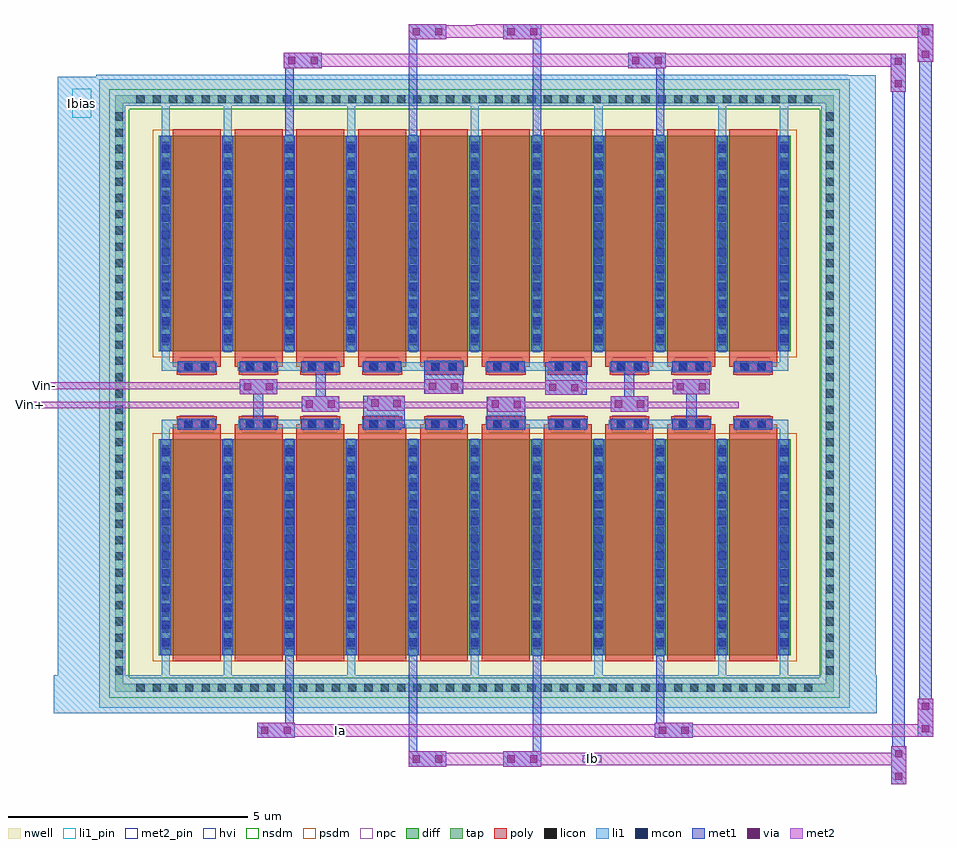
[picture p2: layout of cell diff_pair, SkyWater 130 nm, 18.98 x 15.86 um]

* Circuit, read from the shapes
.subckt diff_pair Ia Ib Ibias Vin+ Vin-
XM1 Ibias Ibias Ibias Ibias sky130_fd_pr__pfet_g5v0d10v5 w=4.5 l=1 m=4
XM2 Ia Vin- Ibias Ibias sky130_fd_pr__pfet_g5v0d10v5 w=4.5 l=1 m=8
XM3 Ib Vin+ Ibias Ibias sky130_fd_pr__pfet_g5v0d10v5 w=4.5 l=1 m=8
.ends

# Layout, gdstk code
from math import pi, radians
import gdstk
lib = gdstk.Library(unit=1e-6, precision=1e-09)
def R(c, l, rs):  # rectangles x0, y0, x1, y1
    for r in rs: c.add(gdstk.rectangle(r[:2], r[2:], *l))
def A(c, l, x, y, w, h, nx, ny, dx, dy):  # array of equal rectangles
    R(c, l, [(x+i*dx, y+j*dy, x+i*dx+w, y+j*dy+h) for i in range(nx) for j in range(ny)])
nwell = (64, 20)
diff = (65, 20)
tap = (65, 44)
poly = (66, 20)
licon = (66, 44)
li1_pin = (67, 16)
li1 = (67, 20)
mcon = (67, 44)
met1 = (68, 20)
via = (68, 44)
met2_pin = (69, 16)
met2 = (69, 20)
hvi = (75, 20)
nsdm = (93, 44)
psdm = (94, 20)
npc = (95, 20)

sky130_fd_pr__pfet_g5v0d = lib.new_cell('sky130_fd_pr__pfet_g5v0d10v5_AEQKCY')
R(sky130_fd_pr__pfet_g5v0d, nwell, [(-0.97,-2.57,0.97,2.74)])
R(sky130_fd_pr__pfet_g5v0d, diff, [(-0.79,-2.07,0.79,2.43)])
R(sky130_fd_pr__pfet_g5v0d, poly, [(-0.415,-2.555,0.415,-2.39), (-0.5,-2.39,0.5,2.56)])
A(sky130_fd_pr__pfet_g5v0d, licon, -0.73, -1.945, 0.17, 0.17, 1, 13, 0, 0.34)
A(sky130_fd_pr__pfet_g5v0d, licon, 0.56, -1.945, 0.17, 0.17, 1, 13, 0, 0.34)
R(sky130_fd_pr__pfet_g5v0d, licon, [(-0.255,-2.475,-0.085,-2.305), (0.085,-2.475,0.255,-2.305)])
R(sky130_fd_pr__pfet_g5v0d, li1, [(-0.73,-2.48,-0.3,-2.475), (-0.73,-2.475,0.415,-2.305), (-0.73,-2.305,-0.3,-2.3), (-0.73,-2.3,-0.56,3.19), (0.56,-2.09,0.73,3.2)])
A(sky130_fd_pr__pfet_g5v0d, mcon, -0.73, -1.885, 0.17, 0.17, 1, 12, 0, 0.36)
A(sky130_fd_pr__pfet_g5v0d, mcon, 0.56, -1.885, 0.17, 0.17, 1, 12, 0, 0.36)
R(sky130_fd_pr__pfet_g5v0d, mcon, [(-0.265,-2.475,-0.095,-2.305), (0.095,-2.475,0.265,-2.305)])
R(sky130_fd_pr__pfet_g5v0d, met1, [(-0.395,-2.505,0.395,-2.275), (-0.76,-2.07,-0.53,2.43), (0.53,-2.07,0.76,2.43)])
R(sky130_fd_pr__pfet_g5v0d, hvi, [(-0.97,-2.57,0.97,-2.255), (-0.975,-2.255,0.975,2.615), (-0.97,2.615,0.97,2.74)])
R(sky130_fd_pr__pfet_g5v0d, psdm, [(-0.915,-2.195,0.915,2.555)])
R(sky130_fd_pr__pfet_g5v0d, npc, [(-0.355,-2.575,0.355,-2.205)])

c_sky130_fd_pr__pfet_g5v0d = lib.new_cell('sky130_fd_pr__pfet_g5v0d10v5_PDQKC8')
R(c_sky130_fd_pr__pfet_g5v0d, nwell, [(-1.045,-2.96,-0.265,-2.65), (-2.905,-2.57,2.905,2.74)])
R(c_sky130_fd_pr__pfet_g5v0d, diff, [(-2.725,-2.07,2.725,2.43)])
A(c_sky130_fd_pr__pfet_g5v0d, poly, -2.35, -2.555, 0.83, 0.165, 4, 1, 1.29, 0)
A(c_sky130_fd_pr__pfet_g5v0d, poly, -2.435, -2.39, 1, 4.95, 4, 1, 1.29, 0)
A(c_sky130_fd_pr__pfet_g5v0d, licon, -2.665, -1.945, 0.17, 0.17, 5, 13, 1.29, 0.34)
R(c_sky130_fd_pr__pfet_g5v0d, licon, [(-2.19,-2.475,-2.02,-2.305), (-1.85,-2.475,-1.68,-2.305), (-0.9,-2.475,-0.73,-2.305), (-0.56,-2.475,-0.39,-2.305), (0.39,-2.475,0.56,-2.305), (0.73,-2.475,0.9,-2.305), (1.68,-2.475,1.85,-2.305), (2.02,-2.475,2.19,-2.305)])
R(c_sky130_fd_pr__pfet_g5v0d, li1, [(-2.355,-2.48,-0.225,-2.3), (0.215,-2.48,2.355,-2.3), (-2.665,-2.09,-2.495,3.11), (-1.375,-2.09,-1.205,2.45), (-0.085,-2.09,0.085,3.33), (1.205,-2.09,1.375,2.45), (2.495,-2.09,2.665,3.14)])
A(c_sky130_fd_pr__pfet_g5v0d, mcon, -2.665, -1.885, 0.17, 0.17, 5, 12, 1.29, 0.36)
R(c_sky130_fd_pr__pfet_g5v0d, mcon, [(-2.2,-2.475,-2.03,-2.305), (-1.84,-2.475,-1.67,-2.305), (-0.91,-2.475,-0.74,-2.305), (-0.55,-2.475,-0.38,-2.305), (0.38,-2.475,0.55,-2.305), (0.74,-2.475,0.91,-2.305), (1.67,-2.475,1.84,-2.305), (2.03,-2.475,2.2,-2.305)])
A(c_sky130_fd_pr__pfet_g5v0d, met1, -2.695, -2.07, 0.23, 4.5, 5, 1, 1.29, 0)
R(c_sky130_fd_pr__pfet_g5v0d, met1, [(1.465,-2.98,2.335,-2.3), (-1.055,-2.96,-0.245,-2.27), (-2.33,-2.505,-1.54,-2.275), (0.25,-2.505,1.04,-2.275), (1.54,-2.3,2.33,-2.275), (-1.385,2.43,-1.205,4.44), (1.205,2.43,1.385,4.44), (-1.385,4.44,-0.595,4.76), (0.595,4.44,1.385,4.76)])
R(c_sky130_fd_pr__pfet_g5v0d, via, [(2.01,-2.905,2.16,-2.755), (1.55,-2.895,1.7,-2.745), (-0.5,-2.885,-0.35,-2.735), (-0.96,-2.875,-0.81,-2.725), (-1.3,4.525,-1.15,4.675), (-0.83,4.525,-0.68,4.675), (0.68,4.525,0.83,4.675), (1.15,4.525,1.3,4.675)])
R(c_sky130_fd_pr__pfet_g5v0d, met2, [(1.465,-2.98,2.245,-2.86), (-1.045,-2.96,-0.265,-2.86), (-3.225,-2.86,3.375,-2.72), (-1.045,-2.72,-0.265,-2.65), (1.465,-2.72,2.245,-2.67), (-1.385,4.44,-0.595,4.47), (0.595,4.44,1.385,4.47), (-1.385,4.47,1.385,4.73), (-1.385,4.73,-0.595,4.76), (0.595,4.73,1.385,4.76)])
R(c_sky130_fd_pr__pfet_g5v0d, hvi, [(-2.905,-2.57,2.905,-2.255), (-2.91,-2.255,2.91,2.615), (-2.905,2.615,2.905,2.74)])
R(c_sky130_fd_pr__pfet_g5v0d, psdm, [(-2.85,-2.195,2.85,2.555)])
A(c_sky130_fd_pr__pfet_g5v0d, npc, -2.29, -2.575, 0.71, 0.37, 4, 1, 1.29, 0)

c_sky130_fd_pr__pfet_g5v0d_ = lib.new_cell('sky130_fd_pr__pfet_g5v0d10v5_QCQKCQ')
R(c_sky130_fd_pr__pfet_g5v0d_, nwell, [(0.715,-3.33,1.035,-3.01), (-1.615,-2.57,1.615,2.74)])
R(c_sky130_fd_pr__pfet_g5v0d_, diff, [(-1.435,-2.07,1.435,2.43)])
R(c_sky130_fd_pr__pfet_g5v0d_, poly, [(-1.06,-2.555,-0.23,-2.39), (0.23,-2.555,1.06,-2.39), (-1.145,-2.39,-0.145,2.56), (0.145,-2.39,1.145,2.56)])
A(c_sky130_fd_pr__pfet_g5v0d_, licon, -1.375, -1.945, 0.17, 0.17, 3, 13, 1.29, 0.34)
R(c_sky130_fd_pr__pfet_g5v0d_, licon, [(-0.9,-2.475,-0.73,-2.305), (-0.56,-2.475,-0.39,-2.305), (0.39,-2.475,0.56,-2.305), (0.73,-2.475,0.9,-2.305)])
R(c_sky130_fd_pr__pfet_g5v0d_, li1, [(-1.075,-2.48,1.065,-2.3), (-1.375,-2.09,-1.205,2.45), (-0.085,-2.09,0.085,2.45), (1.205,-2.09,1.375,3.16)])
A(c_sky130_fd_pr__pfet_g5v0d_, mcon, -1.375, -1.885, 0.17, 0.17, 3, 12, 1.29, 0.36)
R(c_sky130_fd_pr__pfet_g5v0d_, mcon, [(-0.91,-2.475,-0.74,-2.305), (-0.55,-2.475,-0.38,-2.305), (0.38,-2.475,0.55,-2.305), (0.74,-2.475,0.91,-2.305)])
A(c_sky130_fd_pr__pfet_g5v0d_, met1, -1.405, -2.07, 0.23, 4.5, 3, 1, 1.29, 0)
R(c_sky130_fd_pr__pfet_g5v0d_, met1, [(0.255,-3.33,1.035,-3.01), (0.545,-3.01,0.755,-2.505), (-1.04,-2.505,-0.25,-2.275), (0.25,-2.505,1.04,-2.275), (-0.085,2.43,0.085,3.84), (-0.115,3.84,0.675,4.16)])
R(c_sky130_fd_pr__pfet_g5v0d_, via, [(0.34,-3.245,0.49,-3.095), (0.8,-3.245,0.95,-3.095), (-0.03,3.925,0.12,4.075), (0.44,3.925,0.59,4.075)])
R(c_sky130_fd_pr__pfet_g5v0d_, met2, [(0.255,-3.33,1.035,-3.26), (-1.635,-3.26,1.035,-3.12), (0.255,-3.12,1.035,-3.01), (-0.115,3.84,0.675,4.16)])
R(c_sky130_fd_pr__pfet_g5v0d_, hvi, [(-1.615,-2.57,1.615,-2.255), (-1.62,-2.255,1.62,2.615), (-1.615,2.615,1.615,2.74)])
R(c_sky130_fd_pr__pfet_g5v0d_, psdm, [(-1.56,-2.195,1.56,2.555)])
R(c_sky130_fd_pr__pfet_g5v0d_, npc, [(-1,-2.575,-0.29,-2.205), (0.29,-2.575,1,-2.205)])

diff_pair = lib.new_cell('diff_pair')
R(diff_pair, nwell, [(-1.365,-6.975,14.295,6.135)])
R(diff_pair, tap, [(-1.035,-6.645,13.965,-6.475), (-1.035,-6.475,-0.865,5.635), (13.795,-6.475,13.965,5.635), (-1.035,5.635,13.965,5.805)])
A(diff_pair, licon, -0.59, -6.645, 0.17, 0.17, 42, 2, 0.34, 12.28)
A(diff_pair, licon, -1.035, -6.285, 0.17, 0.17, 1, 35, 0, 0.34)
A(diff_pair, licon, 13.795, -6.285, 0.17, 0.17, 1, 35, 0, 0.34)
R(diff_pair, li1_pin, [(-1.93,5.33,-1.53,5.94)])
R(diff_pair, li1, [(-2.31,-7.09,14.86,-6.3), (-2.23,-6.3,-0.82,5.58), (13.7,-6.3,14.84,5.58), (-2.23,5.58,14.84,6.19), (-1.43,6.19,14.84,6.22), (-1.43,6.22,14.27,6.23)])
R(diff_pair, met1, [(15.16,-8.57,15.48,-7.78), (15.18,-7.78,15.44,5.88), (15.72,-7.58,16.04,-6.79), (15.75,-6.79,16.01,6.5), (15.15,5.88,15.47,6.67), (15.72,6.5,16.04,7.29)])
R(diff_pair, via, [(15.245,-8.485,15.395,-8.335), (15.245,-8.015,15.395,-7.865), (15.805,-7.495,15.955,-7.345), (15.805,-7.025,15.955,-6.875), (15.235,5.965,15.385,6.115), (15.235,6.435,15.385,6.585), (15.805,6.585,15.955,6.735), (15.805,7.055,15.955,7.205)])
R(diff_pair, met2_pin, [(8.73,-8.12,9.11,-7.97), (3.6,-7.5,3.75,-7.42), (-2.87,-0.68,-2.74,-0.63), (-2.54,-0.31,-2.48,-0.2)])
R(diff_pair, met2, [(15.16,-8.57,15.48,-8.18), (6.98,-8.18,15.48,-7.92), (15.16,-7.92,15.48,-7.78), (2.56,-7.58,16.04,-7.32), (15.72,-7.32,16.04,-6.79), (-2.94,-0.73,1.5,-0.59), (-2.67,-0.33,2.6,-0.19), (15.15,5.88,15.47,6.4), (3.03,6.4,15.47,6.67), (15.72,6.5,16.04,7), (6.49,7,16.04,7.29)])
R(diff_pair, hvi, [(-1.365,-6.975,14.295,6.135)])
R(diff_pair, nsdm, [(-1.16,-6.77,14.09,-6.35), (-1.16,-6.35,-0.74,5.51), (13.67,-6.35,14.09,5.51), (-1.16,5.51,14.09,5.93)])
diff_pair.add(gdstk.Reference(sky130_fd_pr__pfet_g5v0d, (0.67,-3.45), x_reflection=True))
diff_pair.add(gdstk.Reference(c_sky130_fd_pr__pfet_g5v0d, (6.475,-3.45), rotation=pi))
diff_pair.add(gdstk.Reference(c_sky130_fd_pr__pfet_g5v0d_, (2.605,-3.45), rotation=pi))
diff_pair.add(gdstk.Reference(c_sky130_fd_pr__pfet_g5v0d_, (2.605,2.53)))
diff_pair.add(gdstk.Reference(sky130_fd_pr__pfet_g5v0d, (12.28,-3.45), rotation=pi))
diff_pair.add(gdstk.Reference(c_sky130_fd_pr__pfet_g5v0d_, (10.345,-3.45), x_reflection=True))
diff_pair.add(gdstk.Reference(c_sky130_fd_pr__pfet_g5v0d_, (10.345,2.53), rotation=pi, x_reflection=True))
diff_pair.add(gdstk.Reference(sky130_fd_pr__pfet_g5v0d, (0.67,2.53)))
diff_pair.add(gdstk.Reference(c_sky130_fd_pr__pfet_g5v0d, (6.475,2.53)))
diff_pair.add(gdstk.Reference(sky130_fd_pr__pfet_g5v0d, (12.28,2.53), rotation=pi, x_reflection=True))
diff_pair.add(gdstk.Label('Ibias', (-1.73,5.635), layer=67, texttype=5))
diff_pair.add(gdstk.Label('Vin+', (-2.805,-0.655), layer=69, texttype=5))
diff_pair.add(gdstk.Label('Vin-', (-2.51,-0.255), layer=69, texttype=5))
diff_pair.add(gdstk.Label('Ia', (3.675,-7.46), layer=69, texttype=5))
diff_pair.add(gdstk.Label('Ib', (8.92,-8.045), layer=69, texttype=5))

lib.write_gds('diff_pair.gds')
